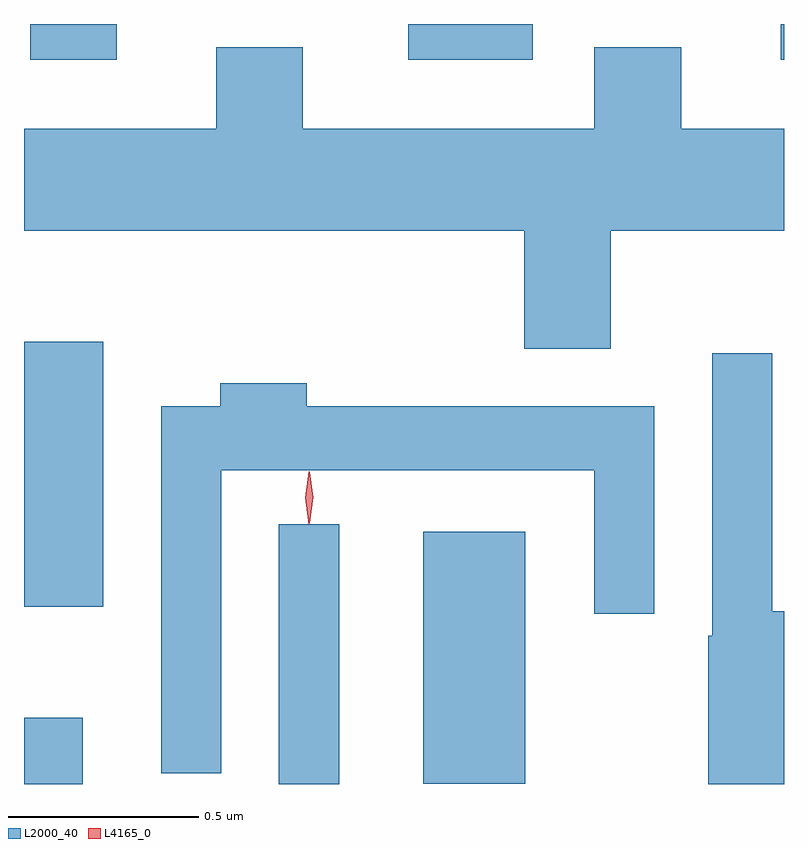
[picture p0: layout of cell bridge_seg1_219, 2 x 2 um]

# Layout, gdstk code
import gdstk
lib = gdstk.Library(unit=1e-6, precision=1e-09)
def R(c, l, rs):  # rectangles x0, y0, x1, y1
    for r in rs: c.add(gdstk.rectangle(r[:2], r[2:], *l))
def P(c, l, *ps):  # polygons
    for p in ps: c.add(gdstk.Polygon(p, *l))
L2000_40 = (2000, 40)
L4165_0 = (4165, 0)

bridge_seg1_219 = lib.new_cell('bridge_seg1_219')
R(bridge_seg1_219, L2000_40, [(836.915,875.92,837.069,876.094), (837.586,875.92,837.744,876.603), (837.966,875.921,838.234,876.584), (836.915,876.386,837.124,877.084), (836.931,877.826,837.159,877.92), (837.926,877.826,838.254,877.92), (838.906,877.826,838.915,877.92)])
P(bridge_seg1_219, L2000_40, [(838.459,877.376),(838.915,877.376),(838.915,877.644),(838.644,877.644),(838.644,877.859),(838.416,877.859),(838.416,877.644),(837.649,877.644),(837.649,877.859),(837.421,877.859),(837.421,877.644),(836.915,877.644),(836.915,877.376),(838.231,877.376),(838.231,877.066),(838.459,877.066)],
  [(838.915,876.374),(838.884,876.374),(838.884,877.053),(838.726,877.053),(838.726,876.31),(838.716,876.31),(838.716,875.92),(838.915,875.92)],
  [(837.434,876.746),(838.416,876.746),(838.416,876.368),(838.574,876.368),(838.574,876.914),(837.659,876.914),(837.659,876.974),(837.431,876.974),(837.431,876.914),(837.276,876.914),(837.276,875.948),(837.434,875.948)])
P(bridge_seg1_219, L4165_0, [(837.664,876.604),(837.655,876.673),(837.664,876.742),(837.665,876.743),(837.666,876.742),(837.675,876.673),(837.666,876.604),(837.665,876.604)],
  [(837.666,876.607),(837.666,876.608),(837.656,876.674),(837.666,876.74),(837.666,876.74),(837.667,876.74),(837.676,876.674),(837.667,876.608)])

lib.write_gds('bridge_seg1_219.gds')
